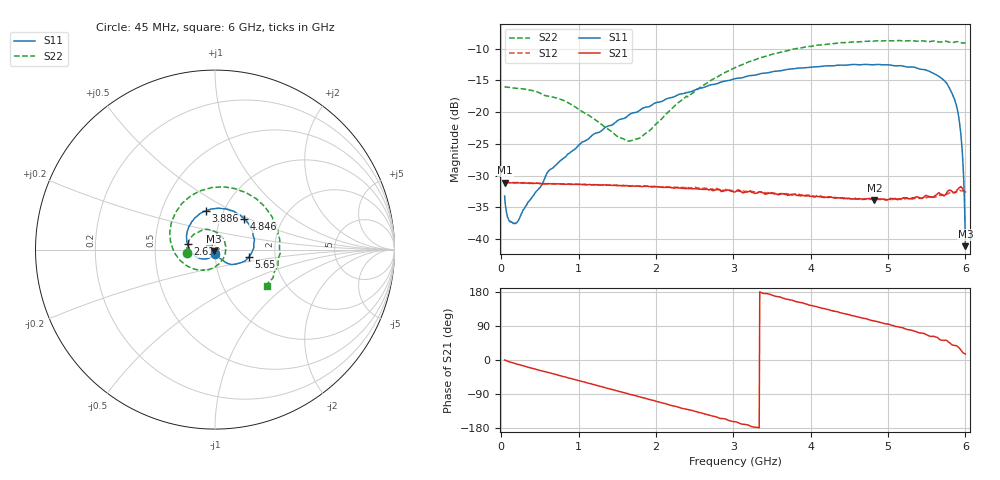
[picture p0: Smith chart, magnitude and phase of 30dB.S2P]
! C:\Users\Aljaz\OneDrive - Univerza v Ljubljani\DOKTORAT\NOVI SA\Slabilec PE43711B\meritve\30dB.S2P
! Touchstone 1.1 file saved by VNA.EXE V1.65 (www.ke5fx.com/gpib/readme.htm)
! 2. 04. 2022 19:16:17
!  Source: HP8510C.07.14: Aug 26  1998
!  Min freq: 4.500000E+007 Hz
!  Max freq: 6.000000E+009 Hz
!  Points: 801
!  Params: S11 S21 S12 S22
# GHZ S DB R 50
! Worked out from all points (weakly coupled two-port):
!   801 points, 45 MHz to 6 GHz, reference 50 ohm
!   highest |S21| = -31.11 dB at 52.44 MHz (marker M1); lowest = -33.8 dB at 4.824 GHz (marker M2)
!   lowest |S11| = -41.1 dB at 6 GHz (marker M3), VSWR 1.02, Z = 49.6 - j0.772 ohm
!   |S11| at or under -10 dB: start of sweep to end of sweep
!   |S22| runs from -24.6 to -8.7 dB; largest |S21 - S12| = 0.0021
!   S11 on the Smith chart (normalised r, x): 45 MHz: 1.00, -0.04; 2.613 GHz: 0.73, +0.05; 3.886 GHz: 0.83, +0.38; 4.846 GHz: 1.30, +0.47; 5.65 GHz: 1.46, -0.13; 6 GHz: 0.99, -0.02
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0.045  -33.23 -94.6  -31.13 0.2  -31.06 0.2  -15.98 -173.9
0.05244375  -34.38 -95.8  -31.11 -0.7  -31.05 -0.5  -16.04 -175.9
0.10455  -37.14 -101.2  -31.15 -4.6  -31.10 -4.6  -16.10 176.1
0.193875  -37.50 -100.8  -31.16 -10.1  -31.11 -10.0  -16.25 166.8
0.610725  -29.32 -108.2  -31.28 -33.1  -31.30 -33.0  -17.49 132.4
1.042463  -24.77 -124.2  -31.41 -56.6  -31.41 -56.4  -19.86 91.6
1.645406  -20.50 -148.3  -31.66 -89.5  -31.63 -89.0  -24.58 -1.5
2.032481  -18.41 -163.2  -31.81 -110.5  -31.75 -110.2  -21.54 -75.6
2.613094  -16.12 168.4  -32.17 -141.3  -32.00 -141.1  -15.78 -139.4
3.0225  -14.73 148.3  -32.58 -162.9  -32.42 -163.4  -13.00 -174.7
3.491456  -13.67 123.7  -32.70 171.8  -32.83 171.1  -10.91 149.0
3.885975  -13.03 103.0  -33.17 150.9  -33.11 149.9  -9.85 119.7
4.019963  -12.90 95.2  -33.28 143.5  -33.20 142.6  -9.61 110.0
4.407038  -12.58 73.1  -33.55 123.5  -33.50 123.3  -9.03 82.3
4.823887  -12.52 47.5  -33.84 103.1  -33.76 102.9  -8.79 52.5
4.846219  -12.49 46.2  -33.77 102.0  -33.74 101.3  -8.76 51.0
5.009981  -12.57 36.1  -33.77 94.6  -33.73 93.6  -8.74 39.5
5.650144  -14.31 -12.7  -32.74 57.6  -33.17 58.0  -8.94 -6.7
5.791575  -16.15 -28.8  -32.27 46.0  -32.78 46.8  -8.96 -17.3
5.903231  -20.00 -48.5  -32.13 34.9  -32.44 34.5  -8.91 -26.4
5.947894  -24.38 -58.0  -31.86 24.7  -32.41 27.2  -9.08 -29.7
6  -41.13 -117.6  -32.60 15.7  -32.51 18.3  -9.06 -35.2
